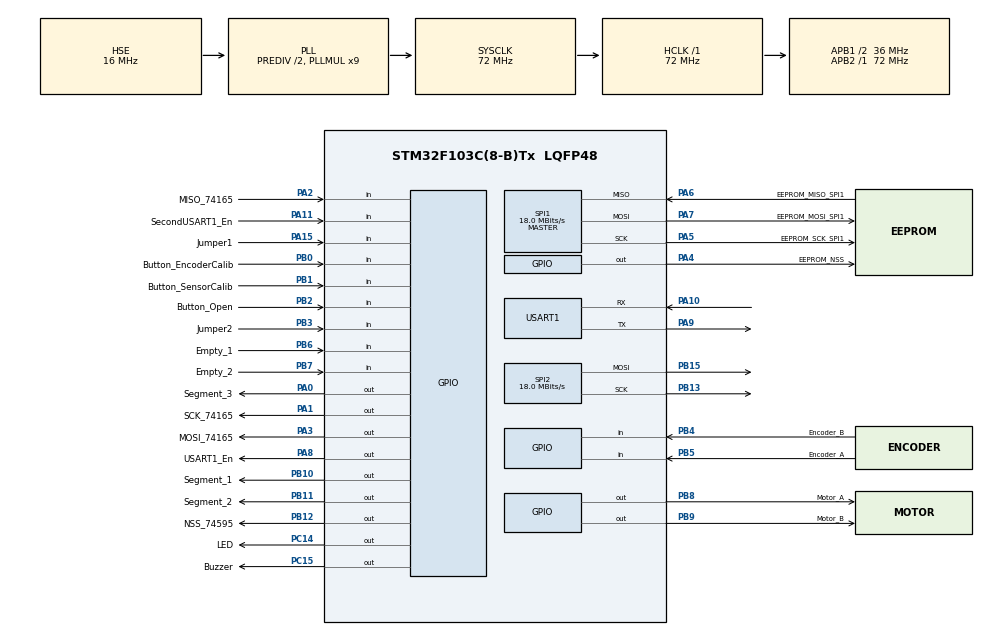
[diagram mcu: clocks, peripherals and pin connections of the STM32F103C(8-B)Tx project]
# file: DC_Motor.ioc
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Mcu.Family=STM32F1
Mcu.Name=STM32F103C(8-B)Tx
Mcu.Package=LQFP48
NVIC.PriorityGroup=NVIC_PRIORITYGROUP_4
PA0-WKUP.GPIO_Label=Segment_3
PA0-WKUP.GPIO_PuPd=GPIO_PULLDOWN
PA0-WKUP.GPIO_Speed=GPIO_SPEED_FREQ_HIGH
PA0-WKUP.Signal=GPIO_Output
PA1.GPIO_Label=SCK_74165
PA1.GPIO_PuPd=GPIO_PULLUP
PA1.GPIO_Speed=GPIO_SPEED_FREQ_HIGH
PA1.PinState=GPIO_PIN_SET
PA1.Signal=GPIO_Output
PA10.Mode=Asynchronous
PA10.Signal=USART1_RX
PA11.GPIO_Label=SecondUSART1_En
PA11.Signal=GPIO_Input
PA13.Mode=Serial_Wire
PA13.Signal=SYS_JTMS-SWDIO
PA14.Mode=Serial_Wire
PA14.Signal=SYS_JTCK-SWCLK
PA15.GPIO_Label=Jumper1
PA15.Signal=GPIO_Input
PA2.GPIO_Label=MISO_74165
PA2.GPIO_PuPd=GPIO_PULLUP
PA2.Signal=GPIO_Input
PA3.GPIO_Label=MOSI_74165
PA3.GPIO_PuPd=GPIO_PULLUP
PA3.GPIO_Speed=GPIO_SPEED_FREQ_HIGH
PA3.PinState=GPIO_PIN_SET
PA3.Signal=GPIO_Output
PA4.GPIO_Label=EEPROM_NSS
PA4.Signal=GPIO_Output
PA5.GPIO_Label=EEPROM_SCK_SPI1
PA5.Mode=Full_Duplex_Master
PA5.Signal=SPI1_SCK
PA6.GPIO_Label=EEPROM_MISO_SPI1
PA6.Mode=Full_Duplex_Master
PA6.Signal=SPI1_MISO
PA7.GPIO_Label=EEPROM_MOSI_SPI1
PA7.Mode=Full_Duplex_Master
PA7.Signal=SPI1_MOSI
PA8.GPIO_Label=USART1_En
PA8.Signal=GPIO_Output
PA9.Mode=Asynchronous
PA9.Signal=USART1_TX
PB0.GPIO_Label=Button_EncoderCalib
PB0.Signal=GPIO_Input
PB1.GPIO_Label=Button_SensorCalib
PB1.Signal=GPIO_Input
PB10.GPIO_Label=Segment_1
PB10.GPIO_PuPd=GPIO_PULLDOWN
PB10.GPIO_Speed=GPIO_SPEED_FREQ_HIGH
PB10.Signal=GPIO_Output
PB11.GPIO_Label=Segment_2
PB11.GPIO_PuPd=GPIO_PULLDOWN
PB11.GPIO_Speed=GPIO_SPEED_FREQ_HIGH
PB11.Signal=GPIO_Output
PB12.GPIO_Label=NSS_74595
PB12.Signal=GPIO_Output
PB13.Mode=TX_Only_Simplex_Unidirect_Master
PB13.Signal=SPI2_SCK
PB15.Mode=TX_Only_Simplex_Unidirect_Master
PB15.Signal=SPI2_MOSI
PB2.GPIO_Label=Button_Open
PB2.Signal=GPIO_Input
PB3.GPIO_Label=Jumper2
PB3.Signal=GPIO_Input
PB4.GPIO_Label=Encoder_B
PB4.Signal=GPIO_Input
PB5.GPIO_Label=Encoder_A
PB5.Signal=GPIO_Input
PB6.GPIO_Label=Empty_1
PB6.Signal=GPIO_Input
PB7.GPIO_Label=Empty_2
PB7.Signal=GPIO_Input
PB8.GPIO_Label=Motor_A
PB8.Signal=GPIO_Output
PB9.GPIO_Label=Motor_B
PB9.Signal=GPIO_Output
PC14-OSC32_IN.GPIO_Label=LED
PC14-OSC32_IN.Signal=GPIO_Output
PC15-OSC32_OUT.GPIO_Label=Buzzer
PC15-OSC32_OUT.Signal=GPIO_Output
PD0-OSC_IN.Mode=HSE-External-Oscillator
PD0-OSC_IN.Signal=RCC_OSC_IN
PD1-OSC_OUT.Mode=HSE-External-Oscillator
PD1-OSC_OUT.Signal=RCC_OSC_OUT
ProjectManager.HeapSize=0x200
ProjectManager.StackSize=0x400
ProjectManager.TargetToolchain=MDK-ARM V5.32
RCC.AHBFreq_Value=72000000
RCC.APB1CLKDivider=RCC_HCLK_DIV2
RCC.APB1Freq_Value=36000000
RCC.APB1TimFreq_Value=72000000
RCC.APB2Freq_Value=72000000
RCC.APB2TimFreq_Value=72000000
RCC.HCLKFreq_Value=72000000
RCC.HSEDivPLL=RCC_HSE_PREDIV_DIV2
RCC.HSE_VALUE=16000000
RCC.PLLMUL=RCC_PLL_MUL9
RCC.PLLSourceVirtual=RCC_PLLSOURCE_HSE
RCC.SYSCLKFreq_VALUE=72000000
RCC.SYSCLKSource=RCC_SYSCLKSOURCE_PLLCLK
RCC.USBFreq_Value=72000000
SPI1.BaudRatePrescaler=SPI_BAUDRATEPRESCALER_4
SPI1.CalculateBaudRate=18.0 MBits/s
SPI1.Direction=SPI_DIRECTION_2LINES
SPI1.Mode=SPI_MODE_MASTER
SPI1.VirtualType=VM_MASTER
SPI2.CalculateBaudRate=18.0 MBits/s
SPI2.Direction=SPI_DIRECTION_2LINES
SPI2.Mode=SPI_MODE_MASTER
SPI2.VirtualType=VM_MASTER
USART1.VirtualMode=VM_ASYNC
board=custom

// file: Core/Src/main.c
/* USER CODE BEGIN Header */
/**
  ******************************************************************************
  * @file           : main.c
  * @brief          : Main program body
  ******************************************************************************
  * @attention
  *
  * Copyright (c) 2023 STMicroelectronics.
  * All rights reserved.
  *
  * This software is licensed under terms that can be found in the LICENSE file
  * in the root directory of this software component.
  * If no LICENSE file comes with this software, it is provided AS-IS.
  *
  ******************************************************************************
  */
/* USER CODE END Header */
#include "main.h"

/* USER CODE BEGIN Includes */
#include "Segments_Buttons.h"
/* USER CODE END Includes */

SPI_HandleTypeDef hspi1;
SPI_HandleTypeDef hspi2;

UART_HandleTypeDef huart1;

/* USER CODE BEGIN PV */
uint8_t test = 0;

uint8_t Key = 0;
/* USER CODE END PV */

void SystemClock_Config(void);
static void MX_GPIO_Init(void);
static void MX_SPI1_Init(void);
static void MX_USART1_UART_Init(void);
static void MX_SPI2_Init(void);
/* USER CODE BEGIN PFP */
void Initial_Prog(void);
void Routine_Prog(void);
/* USER CODE END PFP */

int main(void)
{

  /* MCU Configuration--------------------------------------------------------*/

  /* Reset of all peripherals, Initializes the Flash interface and the Systick. */
  HAL_Init();

  /* Configure the system clock */
  SystemClock_Config();

  /* Initialize all configured peripherals */
  MX_GPIO_Init();
  MX_SPI1_Init();
  MX_USART1_UART_Init();
  MX_SPI2_Init();
  /* USER CODE BEGIN 2 */
	Initial_Prog();
  /* USER CODE END 2 */

  /* Infinite loop */
  while (1)
  {

    /* USER CODE BEGIN 3 */
		Routine_Prog();
  }
  /* USER CODE END 3 */
}

void SystemClock_Config(void)
{
  RCC_OscInitTypeDef RCC_OscInitStruct = {0};
  RCC_ClkInitTypeDef RCC_ClkInitStruct = {0};

  /** Initializes the RCC Oscillators according to the specified parameters
  * in the RCC_OscInitTypeDef structure.
  */
  RCC_OscInitStruct.OscillatorType = RCC_OSCILLATORTYPE_HSE;
  RCC_OscInitStruct.HSEState = RCC_HSE_ON;
  RCC_OscInitStruct.HSEPredivValue = RCC_HSE_PREDIV_DIV2;
  RCC_OscInitStruct.HSIState = RCC_HSI_ON;
  RCC_OscInitStruct.PLL.PLLState = RCC_PLL_ON;
  RCC_OscInitStruct.PLL.PLLSource = RCC_PLLSOURCE_HSE;
  RCC_OscInitStruct.PLL.PLLMUL = RCC_PLL_MUL9;
  if (HAL_RCC_OscConfig(&RCC_OscInitStruct) != HAL_OK)
  {
    Error_Handler();
  }

  /** Initializes the CPU, AHB and APB buses clocks
  */
  RCC_ClkInitStruct.ClockType = RCC_CLOCKTYPE_HCLK|RCC_CLOCKTYPE_SYSCLK
                              |RCC_CLOCKTYPE_PCLK1|RCC_CLOCKTYPE_PCLK2;
  RCC_ClkInitStruct.SYSCLKSource = RCC_SYSCLKSOURCE_PLLCLK;
  RCC_ClkInitStruct.AHBCLKDivider = RCC_SYSCLK_DIV1;
  RCC_ClkInitStruct.APB1CLKDivider = RCC_HCLK_DIV2;
  RCC_ClkInitStruct.APB2CLKDivider = RCC_HCLK_DIV1;

  if (HAL_RCC_ClockConfig(&RCC_ClkInitStruct, FLASH_LATENCY_2) != HAL_OK)
  {
    Error_Handler();
  }
}

static void MX_SPI1_Init(void)
{

  /* SPI1 parameter configuration*/
  hspi1.Instance = SPI1;
  hspi1.Init.Mode = SPI_MODE_MASTER;
  hspi1.Init.Direction = SPI_DIRECTION_2LINES;
  hspi1.Init.DataSize = SPI_DATASIZE_8BIT;
  hspi1.Init.CLKPolarity = SPI_POLARITY_LOW;
  hspi1.Init.CLKPhase = SPI_PHASE_1EDGE;
  hspi1.Init.NSS = SPI_NSS_SOFT;
  hspi1.Init.BaudRatePrescaler = SPI_BAUDRATEPRESCALER_4;
  hspi1.Init.FirstBit = SPI_FIRSTBIT_MSB;
  hspi1.Init.TIMode = SPI_TIMODE_DISABLE;
  hspi1.Init.CRCCalculation = SPI_CRCCALCULATION_DISABLE;
  hspi1.Init.CRCPolynomial = 10;
  if (HAL_SPI_Init(&hspi1) != HAL_OK)
  {
    Error_Handler();
  }

}

static void MX_SPI2_Init(void)
{

  /* SPI2 parameter configuration*/
  hspi2.Instance = SPI2;
  hspi2.Init.Mode = SPI_MODE_MASTER;
  hspi2.Init.Direction = SPI_DIRECTION_2LINES;
  hspi2.Init.DataSize = SPI_DATASIZE_8BIT;
  hspi2.Init.CLKPolarity = SPI_POLARITY_LOW;
  hspi2.Init.CLKPhase = SPI_PHASE_1EDGE;
  hspi2.Init.NSS = SPI_NSS_SOFT;
  hspi2.Init.BaudRatePrescaler = SPI_BAUDRATEPRESCALER_2;
  hspi2.Init.FirstBit = SPI_FIRSTBIT_MSB;
  hspi2.Init.TIMode = SPI_TIMODE_DISABLE;
  hspi2.Init.CRCCalculation = SPI_CRCCALCULATION_DISABLE;
  hspi2.Init.CRCPolynomial = 10;
  if (HAL_SPI_Init(&hspi2) != HAL_OK)
  {
    Error_Handler();
  }

}

static void MX_USART1_UART_Init(void)
{

  huart1.Instance = USART1;
  huart1.Init.BaudRate = 115200;
  huart1.Init.WordLength = UART_WORDLENGTH_8B;
  huart1.Init.StopBits = UART_STOPBITS_1;
  huart1.Init.Parity = UART_PARITY_NONE;
  huart1.Init.Mode = UART_MODE_TX_RX;
  huart1.Init.HwFlowCtl = UART_HWCONTROL_NONE;
  huart1.Init.OverSampling = UART_OVERSAMPLING_16;
  if (HAL_UART_Init(&huart1) != HAL_OK)
  {
    Error_Handler();
  }

}

static void MX_GPIO_Init(void)
{
  GPIO_InitTypeDef GPIO_InitStruct = {0};

  /* GPIO Ports Clock Enable */
  __HAL_RCC_GPIOC_CLK_ENABLE();
  __HAL_RCC_GPIOD_CLK_ENABLE();
  __HAL_RCC_GPIOA_CLK_ENABLE();
  __HAL_RCC_GPIOB_CLK_ENABLE();

  /*Configure GPIO pin Output Level */
  HAL_GPIO_WritePin(GPIOC, LED_Pin|Buzzer_Pin, GPIO_PIN_RESET);

  /*Configure GPIO pin Output Level */
  HAL_GPIO_WritePin(GPIOA, Segment_3_Pin|EEPROM_NSS_Pin|USART1_En_Pin, GPIO_PIN_RESET);

  /*Configure GPIO pin Output Level */
  HAL_GPIO_WritePin(GPIOA, SCK_74165_Pin|MOSI_74165_Pin, GPIO_PIN_SET);

  /*Configure GPIO pin Output Level */
  HAL_GPIO_WritePin(GPIOB, Segment_1_Pin|Segment_2_Pin|NSS_74595_Pin|Motor_A_Pin
                          |Motor_B_Pin, GPIO_PIN_RESET);

  /*Configure GPIO pin : PC13 */
  GPIO_InitStruct.Pin = GPIO_PIN_13;
  GPIO_InitStruct.Mode = GPIO_MODE_ANALOG;
  HAL_GPIO_Init(GPIOC, &GPIO_InitStruct);

  /*Configure GPIO pins : LED_Pin Buzzer_Pin */
  GPIO_InitStruct.Pin = LED_Pin|Buzzer_Pin;
  GPIO_InitStruct.Mode = GPIO_MODE_OUTPUT_PP;
  GPIO_InitStruct.Pull = GPIO_NOPULL;
  GPIO_InitStruct.Speed = GPIO_SPEED_FREQ_LOW;
  HAL_GPIO_Init(GPIOC, &GPIO_InitStruct);

  /*Configure GPIO pin : Segment_3_Pin */
  GPIO_InitStruct.Pin = Segment_3_Pin;
  GPIO_InitStruct.Mode = GPIO_MODE_OUTPUT_PP;
  GPIO_InitStruct.Pull = GPIO_PULLDOWN;
  GPIO_InitStruct.Speed = GPIO_SPEED_FREQ_HIGH;
  HAL_GPIO_Init(Segment_3_GPIO_Port, &GPIO_InitStruct);

  /*Configure GPIO pins : SCK_74165_Pin MOSI_74165_Pin */
  GPIO_InitStruct.Pin = SCK_74165_Pin|MOSI_74165_Pin;
  GPIO_InitStruct.Mode = GPIO_MODE_OUTPUT_PP;
  GPIO_InitStruct.Pull = GPIO_PULLUP;
  GPIO_InitStruct.Speed = GPIO_SPEED_FREQ_HIGH;
  HAL_GPIO_Init(GPIOA, &GPIO_InitStruct);

  /*Configure GPIO pin : MISO_74165_Pin */
  GPIO_InitStruct.Pin = MISO_74165_Pin;
  GPIO_InitStruct.Mode = GPIO_MODE_INPUT;
  GPIO_InitStruct.Pull = GPIO_PULLUP;
  HAL_GPIO_Init(MISO_74165_GPIO_Port, &GPIO_InitStruct);

  /*Configure GPIO pins : EEPROM_NSS_Pin USART1_En_Pin */
  GPIO_InitStruct.Pin = EEPROM_NSS_Pin|USART1_En_Pin;
  GPIO_InitStruct.Mode = GPIO_MODE_OUTPUT_PP;
  GPIO_InitStruct.Pull = GPIO_NOPULL;
  GPIO_InitStruct.Speed = GPIO_SPEED_FREQ_LOW;
  HAL_GPIO_Init(GPIOA, &GPIO_InitStruct);

  /*Configure GPIO pins : Button_EncoderCalib_Pin Button_SensorCalib_Pin Button_Open_Pin Jumper2_Pin
                           Encoder_B_Pin Encoder_A_Pin Empty_1_Pin Empty_2_Pin */
  GPIO_InitStruct.Pin = Button_EncoderCalib_Pin|Button_SensorCalib_Pin|Button_Open_Pin|Jumper2_Pin
                          |Encoder_B_Pin|Encoder_A_Pin|Empty_1_Pin|Empty_2_Pin;
  GPIO_InitStruct.Mode = GPIO_MODE_INPUT;
  GPIO_InitStruct.Pull = GPIO_NOPULL;
  HAL_GPIO_Init(GPIOB, &GPIO_InitStruct);

  /*Configure GPIO pins : Segment_1_Pin Segment_2_Pin */
  GPIO_InitStruct.Pin = Segment_1_Pin|Segment_2_Pin;
  GPIO_InitStruct.Mode = GPIO_MODE_OUTPUT_PP;
  GPIO_InitStruct.Pull = GPIO_PULLDOWN;
  GPIO_InitStruct.Speed = GPIO_SPEED_FREQ_HIGH;
  HAL_GPIO_Init(GPIOB, &GPIO_InitStruct);

  /*Configure GPIO pins : NSS_74595_Pin Motor_A_Pin Motor_B_Pin */
  GPIO_InitStruct.Pin = NSS_74595_Pin|Motor_A_Pin|Motor_B_Pin;
  GPIO_InitStruct.Mode = GPIO_MODE_OUTPUT_PP;
  GPIO_InitStruct.Pull = GPIO_NOPULL;
  GPIO_InitStruct.Speed = GPIO_SPEED_FREQ_LOW;
  HAL_GPIO_Init(GPIOB, &GPIO_InitStruct);

  /*Configure GPIO pin : PB14 */
  GPIO_InitStruct.Pin = GPIO_PIN_14;
  GPIO_InitStruct.Mode = GPIO_MODE_ANALOG;
  HAL_GPIO_Init(GPIOB, &GPIO_InitStruct);

  /*Configure GPIO pins : SecondUSART1_En_Pin Jumper1_Pin */
  GPIO_InitStruct.Pin = SecondUSART1_En_Pin|Jumper1_Pin;
  GPIO_InitStruct.Mode = GPIO_MODE_INPUT;
  GPIO_InitStruct.Pull = GPIO_NOPULL;
  HAL_GPIO_Init(GPIOA, &GPIO_InitStruct);

  /*Configure GPIO pin : PA12 */
  GPIO_InitStruct.Pin = GPIO_PIN_12;
  GPIO_InitStruct.Mode = GPIO_MODE_ANALOG;
  HAL_GPIO_Init(GPIOA, &GPIO_InitStruct);

}

/* USER CODE BEGIN 4 */
void Initial_Prog(void)
{
	for(uint8_t i = 0; i < 10; i++)
	{
		HAL_GPIO_TogglePin(Buzzer_GPIO_Port, Buzzer_Pin);
		HAL_GPIO_TogglePin(LED_GPIO_Port, LED_Pin);
		HAL_Delay(200);
	}
	HAL_GPIO_WritePin(Buzzer_GPIO_Port, Buzzer_Pin, GPIO_PIN_RESET);
	HAL_GPIO_WritePin(LED_GPIO_Port, LED_Pin, GPIO_PIN_RESET);

	HAL_GPIO_WritePin(Segment_1_GPIO_Port, Segment_1_Pin, GPIO_PIN_SET);
	HAL_GPIO_WritePin(Segment_2_GPIO_Port, Segment_2_Pin, GPIO_PIN_SET);
	HAL_GPIO_WritePin(Segment_3_GPIO_Port, Segment_3_Pin, GPIO_PIN_SET);
}
/*-------------------------------------------------------------------*/
void Routine_Prog(void)
{
	Key = PushButtons_ReadData();

	Gen_Number(&hspi2, Zero, 1);
	HAL_Delay(2);
	Gen_Number(&hspi2, Zero, 2);
	HAL_Delay(2);
	Gen_Number(&hspi2, One, 3);
	HAL_Delay(1);
}
/*-------------------------------------------------------------------*/
/* USER CODE END 4 */

void Error_Handler(void)
{
  __disable_irq();
  while (1)
  {
  }
}
